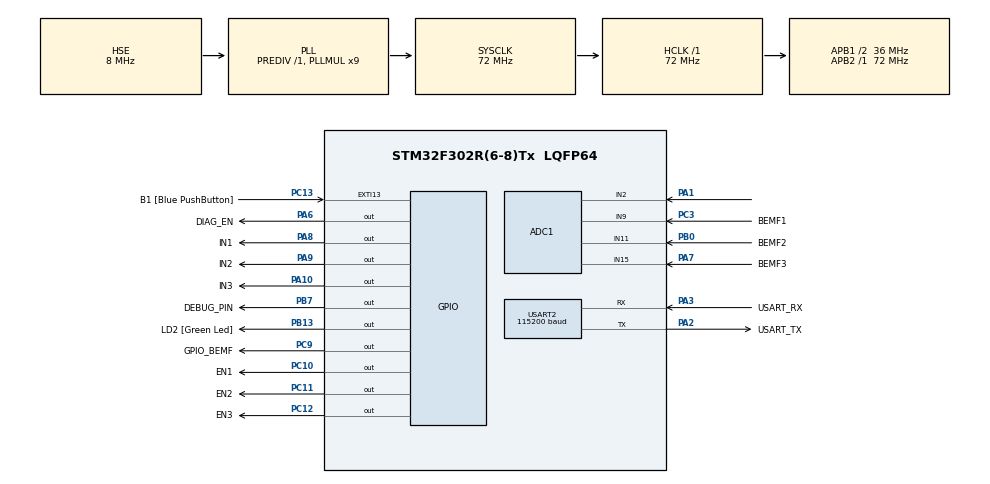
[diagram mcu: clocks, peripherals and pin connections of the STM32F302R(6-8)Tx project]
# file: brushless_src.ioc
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ADC1.Channel-0\#ChannelRegularConversion=ADC_CHANNEL_9
ADC1.Channel-1\#ChannelRegularConversion=ADC_CHANNEL_11
ADC1.Channel-2\#ChannelRegularConversion=ADC_CHANNEL_15
ADC1.Channel-3\#ChannelRegularConversion=ADC_CHANNEL_2
ADC1.ContinuousConvMode=DISABLE
ADC1.DMAContinuousRequests=ENABLE
ADC1.ExternalTrigConv=ADC_EXTERNALTRIGCONV_T1_TRGO
ADC1.NbrOfConversion=4
ADC1.NbrOfConversionFlag=1
ADC1.Offset-0\#ChannelRegularConversion=0
ADC1.Offset-1\#ChannelRegularConversion=0
ADC1.Offset-2\#ChannelRegularConversion=0
ADC1.Offset-3\#ChannelRegularConversion=0
ADC1.OffsetNumber-0\#ChannelRegularConversion=ADC_OFFSET_NONE
ADC1.OffsetNumber-1\#ChannelRegularConversion=ADC_OFFSET_NONE
ADC1.OffsetNumber-2\#ChannelRegularConversion=ADC_OFFSET_NONE
ADC1.OffsetNumber-3\#ChannelRegularConversion=ADC_OFFSET_NONE
ADC1.Rank-0\#ChannelRegularConversion=1
ADC1.Rank-1\#ChannelRegularConversion=2
ADC1.Rank-2\#ChannelRegularConversion=3
ADC1.Rank-3\#ChannelRegularConversion=4
ADC1.SamplingTime-0\#ChannelRegularConversion=ADC_SAMPLETIME_181CYCLES_5
ADC1.SamplingTime-1\#ChannelRegularConversion=ADC_SAMPLETIME_181CYCLES_5
ADC1.SamplingTime-2\#ChannelRegularConversion=ADC_SAMPLETIME_181CYCLES_5
ADC1.SamplingTime-3\#ChannelRegularConversion=ADC_SAMPLETIME_181CYCLES_5
ADC1.SamplingTimeOPAMP-3\#ChannelRegularConversion=ADC_SAMPLETIME_61CYCLES_5
ADC1.master=1
Dma.ADC1.0.Direction=DMA_PERIPH_TO_MEMORY
Dma.ADC1.0.Instance=DMA1_Channel1
Dma.ADC1.0.MemDataAlignment=DMA_MDATAALIGN_HALFWORD
Dma.ADC1.0.MemInc=DMA_MINC_ENABLE
Dma.ADC1.0.Mode=DMA_CIRCULAR
Dma.ADC1.0.PeriphDataAlignment=DMA_PDATAALIGN_HALFWORD
Dma.ADC1.0.PeriphInc=DMA_PINC_DISABLE
Dma.ADC1.0.Priority=DMA_PRIORITY_HIGH
Dma.Request0=ADC1
Mcu.Family=STM32F3
Mcu.Name=STM32F302R(6-8)Tx
Mcu.Package=LQFP64
NVIC.DMA1_Channel1_IRQn=true\:0\:0\:false\:false\:false\:false\:false
NVIC.PriorityGroup=NVIC_PRIORITYGROUP_0
PA1.Mode=IN2-Single-Ended
PA1.Signal=ADC1_IN2
PA10.GPIO_Label=IN3
PA10.Signal=GPIO_Output
PA13.GPIO_Label=TMS
PA13.Mode=Serial_Wire
PA13.Signal=SYS_JTMS-SWDIO
PA14.GPIO_Label=TCK
PA14.Mode=Serial_Wire
PA14.Signal=SYS_JTCK-SWCLK
PA2.GPIO_Label=USART_TX
PA2.GPIO_Mode=GPIO_MODE_AF_PP
PA2.GPIO_PuPd=GPIO_NOPULL
PA2.GPIO_Speed=GPIO_SPEED_FREQ_LOW
PA2.Mode=Asynchronous
PA2.Signal=USART2_TX
PA3.GPIO_Label=USART_RX
PA3.GPIO_Mode=GPIO_MODE_AF_PP
PA3.GPIO_PuPd=GPIO_NOPULL
PA3.GPIO_Speed=GPIO_SPEED_FREQ_LOW
PA3.Mode=Asynchronous
PA3.Signal=USART2_RX
PA6.GPIO_Label=DIAG_EN
PA6.Signal=GPIO_Output
PA7.GPIO_Label=BEMF3
PA7.Mode=IN15-Single-Ended
PA7.Signal=ADC1_IN15
PA8.GPIO_Label=IN1
PA8.GPIO_Speed=GPIO_SPEED_FREQ_LOW
PA8.Signal=GPIO_Output
PA9.GPIO_Label=IN2
PA9.Signal=GPIO_Output
PB0.GPIO_Label=BEMF2
PB0.Mode=IN11-Single-Ended
PB0.Signal=ADC1_IN11
PB13.GPIO_Label=LD2 [Green Led]
PB13.Signal=GPIO_Output
PB3.GPIO_Label=SWO
PB3.Mode=Trace_Asynchronous_SW
PB3.Signal=SYS_JTDO-TRACESWO
PB7.GPIO_Label=DEBUG_PIN
PB7.Signal=GPIO_Output
PC10.GPIO_Label=EN1
PC10.Signal=GPIO_Output
PC11.GPIO_Label=EN2
PC11.Signal=GPIO_Output
PC12.GPIO_Label=EN3
PC12.Signal=GPIO_Output
PC13.GPIO_Label=B1 [Blue PushButton]
PC13.GPIO_ModeDefaultEXTI=GPIO_MODE_IT_FALLING
PC13.Signal=GPXTI13
PC14\ -\ OSC32_IN.Mode=LSE-External-Oscillator
PC14\ -\ OSC32_IN.Signal=RCC_OSC32_IN
PC15\ -\ OSC32_OUT.Mode=LSE-External-Oscillator
PC15\ -\ OSC32_OUT.Signal=RCC_OSC32_OUT
PC3.GPIO_Label=BEMF1
PC3.Signal=ADCx_IN9
PC9.GPIO_Label=GPIO_BEMF
PC9.Signal=GPIO_Output
PF0-OSC_IN.Mode=HSE-External-Clock-Source
PF0-OSC_IN.Signal=RCC_OSC_IN
PF1-OSC_OUT.Signal=RCC_OSC_OUT
ProjectManager.HeapSize=0x200
ProjectManager.StackSize=0x400
ProjectManager.TargetToolchain=STM32CubeIDE
RCC.AHBFreq_Value=72000000
RCC.APB1CLKDivider=RCC_HCLK_DIV2
RCC.APB1Freq_Value=36000000
RCC.APB1TimFreq_Value=72000000
RCC.APB2Freq_Value=72000000
RCC.APB2TimFreq_Value=72000000
RCC.CortexFreq_Value=72000000
RCC.HCLKFreq_Value=72000000
RCC.HSE_VALUE=8000000
RCC.HSI_VALUE=8000000
RCC.PLLM=8
RCC.PLLMUL=RCC_PLL_MUL9
RCC.PLLN=336
RCC.PLLP=RCC_PLLP_DIV4
RCC.PLLQ=7
RCC.PLLSourceVirtual=RCC_PLLSOURCE_HSE
RCC.SYSCLKFreq_VALUE=72000000
RCC.SYSCLKSourceVirtual=RCC_SYSCLKSOURCE_PLLCLK
RCC.USBFreq_Value=72000000
SH.ADCx_IN9.0=ADC1_IN9,IN9-Single-Ended
TIM1.Period=3599
TIM1.TIM_MasterOutputTrigger=TIM_TRGO_UPDATE
USART2.BaudRate=115200
USART2.VirtualMode-Asynchronous=VM_ASYNC
VP_TIM1_VS_ClockSourceINT.Mode=Internal
board=NUCLEO-F302R8

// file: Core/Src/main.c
/* USER CODE BEGIN Header */
/**
  ******************************************************************************
  * @file           : main.c
  * @brief          : Main program body
  ******************************************************************************
  * @attention
  *
  * <h2><center>&copy; Copyright (c) 2021 STMicroelectronics.
  * All rights reserved.</center></h2>
  *
  * This software component is licensed by ST under BSD 3-Clause license,
  * the "License"; You may not use this file except in compliance with the
  * License. You may obtain a copy of the License at:
  *                        opensource.org/licenses/BSD-3-Clause
  *
  ******************************************************************************
  */
/* USER CODE END Header */
#include "main.h"

/* USER CODE BEGIN Includes */
#include <stdbool.h>
/* USER CODE END Includes */

ADC_HandleTypeDef hadc1;
DMA_HandleTypeDef hdma_adc1;

TIM_HandleTypeDef htim1;

UART_HandleTypeDef huart2;

void SystemClock_Config(void);
static void MX_GPIO_Init(void);
static void MX_DMA_Init(void);
static void MX_USART2_UART_Init(void);
static void MX_ADC1_Init(void);
static void MX_TIM1_Init(void);

/* USER CODE BEGIN 0 */
static inline void reset_all(){
	HAL_GPIO_WritePin(DIAG_EN_GPIO_Port, DIAG_EN_Pin, GPIO_PIN_RESET);
	HAL_GPIO_WritePin(IN1_GPIO_Port, IN1_Pin, GPIO_PIN_RESET);
	HAL_GPIO_WritePin(EN1_GPIO_Port, EN1_Pin, GPIO_PIN_RESET);
	HAL_GPIO_WritePin(IN2_GPIO_Port, IN2_Pin, GPIO_PIN_RESET);
	HAL_GPIO_WritePin(EN2_GPIO_Port, EN2_Pin, GPIO_PIN_RESET);
	HAL_GPIO_WritePin(IN3_GPIO_Port, IN3_Pin, GPIO_PIN_RESET);
	HAL_GPIO_WritePin(EN3_GPIO_Port, EN3_Pin, GPIO_PIN_RESET);
}

static inline void step1(){
	HAL_GPIO_WritePin(IN1_GPIO_Port, IN1_Pin, GPIO_PIN_SET);
	HAL_GPIO_WritePin(IN2_GPIO_Port, IN2_Pin, GPIO_PIN_RESET);
	HAL_GPIO_WritePin(IN3_GPIO_Port, IN3_Pin, GPIO_PIN_RESET);
	HAL_GPIO_WritePin(EN1_GPIO_Port, EN1_Pin, GPIO_PIN_SET);
	HAL_GPIO_WritePin(EN2_GPIO_Port, EN2_Pin, GPIO_PIN_SET);
	HAL_GPIO_WritePin(EN3_GPIO_Port, EN3_Pin, GPIO_PIN_RESET);
}
static inline void step2(){
	HAL_GPIO_WritePin(IN1_GPIO_Port, IN1_Pin, GPIO_PIN_SET);
	HAL_GPIO_WritePin(IN2_GPIO_Port, IN2_Pin, GPIO_PIN_RESET);
	HAL_GPIO_WritePin(IN3_GPIO_Port, IN3_Pin, GPIO_PIN_RESET);
	HAL_GPIO_WritePin(EN1_GPIO_Port, EN1_Pin, GPIO_PIN_SET);
	HAL_GPIO_WritePin(EN2_GPIO_Port, EN2_Pin, GPIO_PIN_RESET);
	HAL_GPIO_WritePin(EN3_GPIO_Port, EN3_Pin, GPIO_PIN_SET);
}
static inline void step3(){
	HAL_GPIO_WritePin(IN1_GPIO_Port, IN1_Pin, GPIO_PIN_RESET);
	HAL_GPIO_WritePin(IN2_GPIO_Port, IN2_Pin, GPIO_PIN_SET);
	HAL_GPIO_WritePin(IN3_GPIO_Port, IN3_Pin, GPIO_PIN_RESET);
	HAL_GPIO_WritePin(EN1_GPIO_Port, EN1_Pin, GPIO_PIN_RESET);
	HAL_GPIO_WritePin(EN2_GPIO_Port, EN2_Pin, GPIO_PIN_SET);
	HAL_GPIO_WritePin(EN3_GPIO_Port, EN3_Pin, GPIO_PIN_SET);
}
static inline void step4(){
	HAL_GPIO_WritePin(IN1_GPIO_Port, IN1_Pin, GPIO_PIN_RESET);
	HAL_GPIO_WritePin(IN2_GPIO_Port, IN2_Pin, GPIO_PIN_SET);
	HAL_GPIO_WritePin(IN3_GPIO_Port, IN3_Pin, GPIO_PIN_RESET);
	HAL_GPIO_WritePin(EN1_GPIO_Port, EN1_Pin, GPIO_PIN_SET);
	HAL_GPIO_WritePin(EN2_GPIO_Port, EN2_Pin, GPIO_PIN_SET);
	HAL_GPIO_WritePin(EN3_GPIO_Port, EN3_Pin, GPIO_PIN_RESET);
}
static inline void step5(){
	HAL_GPIO_WritePin(IN1_GPIO_Port, IN1_Pin, GPIO_PIN_RESET);
	HAL_GPIO_WritePin(IN2_GPIO_Port, IN2_Pin, GPIO_PIN_RESET);
	HAL_GPIO_WritePin(IN3_GPIO_Port, IN3_Pin, GPIO_PIN_SET);
	HAL_GPIO_WritePin(EN1_GPIO_Port, EN1_Pin, GPIO_PIN_SET);
	HAL_GPIO_WritePin(EN2_GPIO_Port, EN2_Pin, GPIO_PIN_RESET);
	HAL_GPIO_WritePin(EN3_GPIO_Port, EN3_Pin, GPIO_PIN_SET);
}
static inline void step6(){
	HAL_GPIO_WritePin(IN1_GPIO_Port, IN1_Pin, GPIO_PIN_RESET);
	HAL_GPIO_WritePin(IN2_GPIO_Port, IN2_Pin, GPIO_PIN_RESET);
	HAL_GPIO_WritePin(IN3_GPIO_Port, IN3_Pin, GPIO_PIN_SET);
	HAL_GPIO_WritePin(EN1_GPIO_Port, EN1_Pin, GPIO_PIN_RESET);
	HAL_GPIO_WritePin(EN2_GPIO_Port, EN2_Pin, GPIO_PIN_SET);
	HAL_GPIO_WritePin(EN3_GPIO_Port, EN3_Pin, GPIO_PIN_SET);
}

//void test_steps(){
//	uint32_t delay = 100;
//	reset_all();
//	HAL_Delay(delay);
//	HAL_GPIO_WritePin(DIAG_EN_GPIO_Port, DIAG_EN_Pin, GPIO_PIN_SET);
//	HAL_Delay(delay);
//	step1();HAL_Delay(delay);
//	step2();HAL_Delay(delay);
//	step3();HAL_Delay(delay);
//	step4();HAL_Delay(delay);
//	step5();HAL_Delay(delay);
//	step6();HAL_Delay(delay);
//	step1();HAL_Delay(delay);
//	step2();HAL_Delay(delay);
//	step3();HAL_Delay(delay);
//	step4();HAL_Delay(delay);
//	step5();HAL_Delay(delay);
//	step6();HAL_Delay(delay);
//
////	step1();HAL_Delay(delay);
////	step2();HAL_Delay(delay);
////	step3();HAL_Delay(delay);
////	step4();HAL_Delay(delay);
////	step5();HAL_Delay(delay);
////	step6();HAL_Delay(delay);
////	step1();HAL_Delay(delay);
////	step2();HAL_Delay(delay);
////	step3();HAL_Delay(delay);
////	step4();HAL_Delay(delay);
////	step5();HAL_Delay(delay);
////	step6();HAL_Delay(delay);
////
////	step1();HAL_Delay(delay);
////	step2();HAL_Delay(delay);
////	step3();HAL_Delay(delay);
////	step4();HAL_Delay(delay);
////	step5();HAL_Delay(delay);
////	step6();HAL_Delay(delay);
////	step1();HAL_Delay(delay);
////	step2();HAL_Delay(delay);
////	step3();HAL_Delay(delay);
////	step4();HAL_Delay(delay);
////	step5();HAL_Delay(delay);
////	step6();HAL_Delay(delay);
////
////	step1();HAL_Delay(delay);
////	step2();HAL_Delay(delay);
////	step3();HAL_Delay(delay);
////	step4();HAL_Delay(delay);
////	step5();HAL_Delay(delay);
////	step6();HAL_Delay(delay);
////	step1();HAL_Delay(delay);
////	step2();HAL_Delay(delay);
////	step3();HAL_Delay(delay);
////	step4();HAL_Delay(delay);
////	step5();HAL_Delay(delay);
////	step6();HAL_Delay(delay);
//
//	reset_all();
//	while(1){}
//}

typedef void (*step_function)(void);

#define N_REVS (2U)
#define N_STEP (6U)
#define N_SAMPLES_PER_STEP (100U)
#define N_RECORD_SAMPLES (N_REVS*N_STEP*N_SAMPLES_PER_STEP)
__IO uint16_t adc_array[3];
__IO uint16_t record_phase_a[N_RECORD_SAMPLES];
__IO uint16_t record_phase_b[N_RECORD_SAMPLES];
__IO uint16_t record_phase_c[N_RECORD_SAMPLES];
__IO uint8_t record_step[N_RECORD_SAMPLES];
__IO uint16_t record_vbus[N_RECORD_SAMPLES];
__IO uint16_t record_index;
__IO uint8_t step_index;
__IO uint16_t sample_step;
__IO bool recording;

step_function steps_array[] = {step1,step2, step3, step4, step5,step6};

void DMA1_Channel1_IRQHandler(void)
{
	step_function func_p;

	HAL_GPIO_WritePin(DEBUG_PIN_GPIO_Port, DEBUG_PIN_Pin, GPIO_PIN_SET);

	record_phase_a[record_index] = adc_array[0];
	record_phase_b[record_index] = adc_array[1];
	record_phase_c[record_index] = adc_array[2];
	//record_step[record_index] = step_index;
	record_vbus[record_index] = adc_array[3];

	record_index++;
	if(record_index >= N_RECORD_SAMPLES){
		HAL_TIM_Base_Stop(&htim1);
		reset_all();
		recording = false;
	}

	sample_step++;
	if(sample_step >=N_SAMPLES_PER_STEP){
		sample_step = 0;
		step_index++;
		if(step_index >=N_STEP){
			step_index=0;
		}
		func_p = steps_array[step_index];
		func_p();
	}

	DMA1->IFCR = DMA_IFCR_CTCIF1;

	HAL_GPIO_WritePin(DEBUG_PIN_GPIO_Port, DEBUG_PIN_Pin, GPIO_PIN_RESET);
}
void test_adc(){
	uint32_t delay = 1;
	uint8_t rx;

	record_index = 0;
	sample_step =0;
	step_index = 0;
	reset_all();

	HAL_ADCEx_Calibration_Start(&hadc1, ADC_SINGLE_ENDED);

	HAL_Delay(delay);
	HAL_GPIO_WritePin(DIAG_EN_GPIO_Port, DIAG_EN_Pin, GPIO_PIN_SET);
	HAL_GPIO_WritePin(GPIO_BEMF_GPIO_Port, GPIO_BEMF_Pin, GPIO_PIN_RESET);
	HAL_Delay(delay);

	step6();
	HAL_Delay(10);

	HAL_ADC_Start_DMA(&hadc1, (uint32_t *)&adc_array[0], 4);
	DMA1_Channel1->CCR &= ~DMA_CCR_HTIE;	// disables half transfer interrupt
	recording = true;
	step1();
	HAL_TIM_Base_Start(&htim1);

	while(recording);
	HAL_UART_Transmit(&huart2, (uint8_t *)record_phase_a, N_RECORD_SAMPLES*2, 1000);
	HAL_UART_Receive(&huart2, &rx, 1, 1000);
	HAL_UART_Transmit(&huart2, (uint8_t *)record_phase_b, N_RECORD_SAMPLES*2, 1000);
	HAL_UART_Receive(&huart2, &rx, 1, 1000);
	HAL_UART_Transmit(&huart2, (uint8_t *)record_phase_c, N_RECORD_SAMPLES*2, 1000);
	HAL_UART_Receive(&huart2, &rx, 1, 1000);
	//HAL_UART_Transmit(&huart2, (uint8_t *)record_step, N_RECORD_SAMPLES, 1000);
	HAL_UART_Transmit(&huart2, (uint8_t *)record_vbus, N_RECORD_SAMPLES*2, 1000);
	while(true);
}

/* USER CODE END 0 */

int main(void)
{

  /* MCU Configuration--------------------------------------------------------*/

  /* Reset of all peripherals, Initializes the Flash interface and the Systick. */
  HAL_Init();

  /* Configure the system clock */
  SystemClock_Config();

  /* Initialize all configured peripherals */
  MX_GPIO_Init();
  MX_DMA_Init();
  MX_USART2_UART_Init();
  MX_ADC1_Init();
  MX_TIM1_Init();
  /* USER CODE BEGIN 2 */

//  test_steps();
  test_adc();

  /* USER CODE END 2 */

  /* Infinite loop */
  while (1)
  {

  }
}

void SystemClock_Config(void)
{
  RCC_OscInitTypeDef RCC_OscInitStruct = {0};
  RCC_ClkInitTypeDef RCC_ClkInitStruct = {0};
  RCC_PeriphCLKInitTypeDef PeriphClkInit = {0};

  /** Initializes the RCC Oscillators according to the specified parameters
  * in the RCC_OscInitTypeDef structure.
  */
  RCC_OscInitStruct.OscillatorType = RCC_OSCILLATORTYPE_HSE;
  RCC_OscInitStruct.HSEState = RCC_HSE_BYPASS;
  RCC_OscInitStruct.HSEPredivValue = RCC_HSE_PREDIV_DIV1;
  RCC_OscInitStruct.HSIState = RCC_HSI_ON;
  RCC_OscInitStruct.PLL.PLLState = RCC_PLL_ON;
  RCC_OscInitStruct.PLL.PLLSource = RCC_PLLSOURCE_HSE;
  RCC_OscInitStruct.PLL.PLLMUL = RCC_PLL_MUL9;
  if (HAL_RCC_OscConfig(&RCC_OscInitStruct) != HAL_OK)
  {
    Error_Handler();
  }
  /** Initializes the CPU, AHB and APB buses clocks
  */
  RCC_ClkInitStruct.ClockType = RCC_CLOCKTYPE_HCLK|RCC_CLOCKTYPE_SYSCLK
                              |RCC_CLOCKTYPE_PCLK1|RCC_CLOCKTYPE_PCLK2;
  RCC_ClkInitStruct.SYSCLKSource = RCC_SYSCLKSOURCE_PLLCLK;
  RCC_ClkInitStruct.AHBCLKDivider = RCC_SYSCLK_DIV1;
  RCC_ClkInitStruct.APB1CLKDivider = RCC_HCLK_DIV2;
  RCC_ClkInitStruct.APB2CLKDivider = RCC_HCLK_DIV1;

  if (HAL_RCC_ClockConfig(&RCC_ClkInitStruct, FLASH_LATENCY_2) != HAL_OK)
  {
    Error_Handler();
  }
  PeriphClkInit.PeriphClockSelection = RCC_PERIPHCLK_TIM1|RCC_PERIPHCLK_ADC1;
  PeriphClkInit.Tim1ClockSelection = RCC_TIM1CLK_HCLK;
  PeriphClkInit.Adc1ClockSelection = RCC_ADC1PLLCLK_DIV1;

  if (HAL_RCCEx_PeriphCLKConfig(&PeriphClkInit) != HAL_OK)
  {
    Error_Handler();
  }
}

static void MX_ADC1_Init(void)
{

  ADC_ChannelConfTypeDef sConfig = {0};

  /** Common config
  */
  hadc1.Instance = ADC1;
  hadc1.Init.ClockPrescaler = ADC_CLOCK_ASYNC_DIV1;
  hadc1.Init.Resolution = ADC_RESOLUTION_12B;
  hadc1.Init.ScanConvMode = ADC_SCAN_ENABLE;
  hadc1.Init.ContinuousConvMode = DISABLE;
  hadc1.Init.DiscontinuousConvMode = DISABLE;
  hadc1.Init.ExternalTrigConvEdge = ADC_EXTERNALTRIGCONVEDGE_RISING;
  hadc1.Init.ExternalTrigConv = ADC_EXTERNALTRIGCONV_T1_TRGO;
  hadc1.Init.DataAlign = ADC_DATAALIGN_RIGHT;
  hadc1.Init.NbrOfConversion = 4;
  hadc1.Init.DMAContinuousRequests = ENABLE;
  hadc1.Init.EOCSelection = ADC_EOC_SINGLE_CONV;
  hadc1.Init.LowPowerAutoWait = DISABLE;
  hadc1.Init.Overrun = ADC_OVR_DATA_OVERWRITTEN;
  if (HAL_ADC_Init(&hadc1) != HAL_OK)
  {
    Error_Handler();
  }
  /** Configure Regular Channel
  */
  sConfig.Channel = ADC_CHANNEL_9;
  sConfig.Rank = ADC_REGULAR_RANK_1;
  sConfig.SingleDiff = ADC_SINGLE_ENDED;
  sConfig.SamplingTime = ADC_SAMPLETIME_181CYCLES_5;
  sConfig.OffsetNumber = ADC_OFFSET_NONE;
  sConfig.Offset = 0;
  if (HAL_ADC_ConfigChannel(&hadc1, &sConfig) != HAL_OK)
  {
    Error_Handler();
  }
  /** Configure Regular Channel
  */
  sConfig.Channel = ADC_CHANNEL_11;
  sConfig.Rank = ADC_REGULAR_RANK_2;
  if (HAL_ADC_ConfigChannel(&hadc1, &sConfig) != HAL_OK)
  {
    Error_Handler();
  }
  /** Configure Regular Channel
  */
  sConfig.Channel = ADC_CHANNEL_15;
  sConfig.Rank = ADC_REGULAR_RANK_3;
  if (HAL_ADC_ConfigChannel(&hadc1, &sConfig) != HAL_OK)
  {
    Error_Handler();
  }
  /** Configure Regular Channel
  */
  sConfig.Channel = ADC_CHANNEL_2;
  sConfig.Rank = ADC_REGULAR_RANK_4;
  if (HAL_ADC_ConfigChannel(&hadc1, &sConfig) != HAL_OK)
  {
    Error_Handler();
  }

}

static void MX_TIM1_Init(void)
{

  TIM_ClockConfigTypeDef sClockSourceConfig = {0};
  TIM_MasterConfigTypeDef sMasterConfig = {0};

  htim1.Instance = TIM1;
  htim1.Init.Prescaler = 0;
  htim1.Init.CounterMode = TIM_COUNTERMODE_UP;
  htim1.Init.Period = 3599;
  htim1.Init.ClockDivision = TIM_CLOCKDIVISION_DIV1;
  htim1.Init.RepetitionCounter = 0;
  htim1.Init.AutoReloadPreload = TIM_AUTORELOAD_PRELOAD_DISABLE;
  if (HAL_TIM_Base_Init(&htim1) != HAL_OK)
  {
    Error_Handler();
  }
  sClockSourceConfig.ClockSource = TIM_CLOCKSOURCE_INTERNAL;
  if (HAL_TIM_ConfigClockSource(&htim1, &sClockSourceConfig) != HAL_OK)
  {
    Error_Handler();
  }
  sMasterConfig.MasterOutputTrigger = TIM_TRGO_UPDATE;
  sMasterConfig.MasterOutputTrigger2 = TIM_TRGO2_RESET;
  sMasterConfig.MasterSlaveMode = TIM_MASTERSLAVEMODE_DISABLE;
  if (HAL_TIMEx_MasterConfigSynchronization(&htim1, &sMasterConfig) != HAL_OK)
  {
    Error_Handler();
  }

}

static void MX_USART2_UART_Init(void)
{

  huart2.Instance = USART2;
  huart2.Init.BaudRate = 115200;
  huart2.Init.WordLength = UART_WORDLENGTH_8B;
  huart2.Init.StopBits = UART_STOPBITS_1;
  huart2.Init.Parity = UART_PARITY_NONE;
  huart2.Init.Mode = UART_MODE_TX_RX;
  huart2.Init.HwFlowCtl = UART_HWCONTROL_NONE;
  huart2.Init.OverSampling = UART_OVERSAMPLING_16;
  huart2.Init.OneBitSampling = UART_ONE_BIT_SAMPLE_DISABLE;
  huart2.AdvancedInit.AdvFeatureInit = UART_ADVFEATURE_NO_INIT;
  if (HAL_UART_Init(&huart2) != HAL_OK)
  {
    Error_Handler();
  }

}

static void MX_DMA_Init(void)
{

  /* DMA controller clock enable */
  __HAL_RCC_DMA1_CLK_ENABLE();

  /* DMA interrupt init */
  /* DMA1_Channel1_IRQn interrupt configuration */
  HAL_NVIC_SetPriority(DMA1_Channel1_IRQn, 0, 0);
  HAL_NVIC_EnableIRQ(DMA1_Channel1_IRQn);

}

static void MX_GPIO_Init(void)
{
  GPIO_InitTypeDef GPIO_InitStruct = {0};

  /* GPIO Ports Clock Enable */
  __HAL_RCC_GPIOC_CLK_ENABLE();
  __HAL_RCC_GPIOF_CLK_ENABLE();
  __HAL_RCC_GPIOA_CLK_ENABLE();
  __HAL_RCC_GPIOB_CLK_ENABLE();

  /*Configure GPIO pin Output Level */
  HAL_GPIO_WritePin(GPIOA, DIAG_EN_Pin|IN1_Pin|IN2_Pin|IN3_Pin, GPIO_PIN_RESET);

  /*Configure GPIO pin Output Level */
  HAL_GPIO_WritePin(GPIOB, LD2_Pin|DEBUG_PIN_Pin, GPIO_PIN_RESET);

  /*Configure GPIO pin Output Level */
  HAL_GPIO_WritePin(GPIOC, GPIO_BEMF_Pin|EN1_Pin|EN2_Pin|EN3_Pin, GPIO_PIN_RESET);

  /*Configure GPIO pin : B1_Pin */
  GPIO_InitStruct.Pin = B1_Pin;
  GPIO_InitStruct.Mode = GPIO_MODE_IT_FALLING;
  GPIO_InitStruct.Pull = GPIO_NOPULL;
  HAL_GPIO_Init(B1_GPIO_Port, &GPIO_InitStruct);

  /*Configure GPIO pins : DIAG_EN_Pin IN1_Pin IN2_Pin IN3_Pin */
  GPIO_InitStruct.Pin = DIAG_EN_Pin|IN1_Pin|IN2_Pin|IN3_Pin;
  GPIO_InitStruct.Mode = GPIO_MODE_OUTPUT_PP;
  GPIO_InitStruct.Pull = GPIO_NOPULL;
  GPIO_InitStruct.Speed = GPIO_SPEED_FREQ_LOW;
  HAL_GPIO_Init(GPIOA, &GPIO_InitStruct);

  /*Configure GPIO pins : LD2_Pin DEBUG_PIN_Pin */
  GPIO_InitStruct.Pin = LD2_Pin|DEBUG_PIN_Pin;
  GPIO_InitStruct.Mode = GPIO_MODE_OUTPUT_PP;
  GPIO_InitStruct.Pull = GPIO_NOPULL;
  GPIO_InitStruct.Speed = GPIO_SPEED_FREQ_LOW;
  HAL_GPIO_Init(GPIOB, &GPIO_InitStruct);

  /*Configure GPIO pins : GPIO_BEMF_Pin EN1_Pin EN2_Pin EN3_Pin */
  GPIO_InitStruct.Pin = GPIO_BEMF_Pin|EN1_Pin|EN2_Pin|EN3_Pin;
  GPIO_InitStruct.Mode = GPIO_MODE_OUTPUT_PP;
  GPIO_InitStruct.Pull = GPIO_NOPULL;
  GPIO_InitStruct.Speed = GPIO_SPEED_FREQ_LOW;
  HAL_GPIO_Init(GPIOC, &GPIO_InitStruct);

}

void Error_Handler(void)
{
  __disable_irq();
  while (1)
  {
  }
}

/************************ (C) COPYRIGHT STMicroelectronics *****END OF FILE****/
